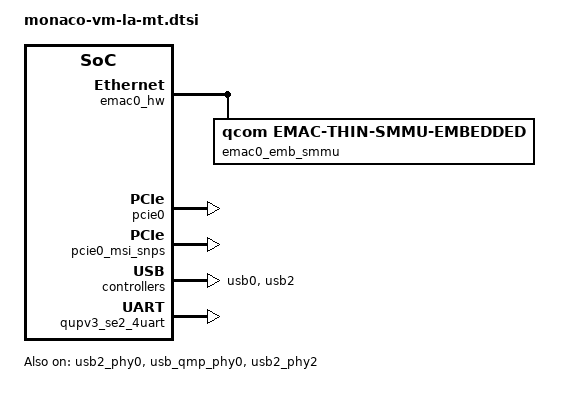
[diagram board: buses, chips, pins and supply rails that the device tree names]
// SPDX-License-Identifier: BSD-3-Clause
/*
 * Copyright (c) Qualcomm Technologies, Inc. and/or its subsidiaries.
 */

&soc {
	mtl_rx_setup: rx-queue-config {
		snps,rx-queues-to-use = <1>;
		snps,rx-sched-sp;

		queue {
			snps,dcb-algorithm;
			snps,priority = <0x1>;
		};
	};

	mtl_tx_setup: tx-queue-config {
		snps,tx-queues-to-use = <1>;
		snps,tx-sched-sp;
		queue {
			snps,dcb-algorithm;
		};
	};

	emac0_hw: qcom,ethernet@23040000 {
		compatible = "qcom,stmmac-ethqos-emac0";
		emac-core-version = <0x30010000>;
		qcom,arm-smmu;
		reg = <0x23049000 0x1000>;
		reg-names = "stmmaceth";
		interrupts-extended = <&intc 0 944 4>, <&intc 0 945 4>,
			<&intc 0 943 4>, <&intc 0 942 4>,
			<&intc 0 941 4>, <&intc 0 940 4>,
			<&intc 0 939 4>, <&intc 0 938 4>,
			<&intc 0 863 4>,<&intc 0 859 4>,
			<&intc 0 866 4>,<&intc 0 869 4>,
			<&intc 0 870 4>,<&intc 0 871 4>,
			<&intc 0 872 4>,<&intc 0 858 4>;
		interrupt-names = "tx_ch0_intr", "tx_ch1_intr",
			"tx_ch2_intr", "tx_ch3_intr",
			"tx_ch4_intr", "tx_ch5_intr",
			"tx_ch6_intr", "tx_ch7_intr",
			"rx_ch0_intr","rx_ch1_intr",
			"rx_ch2_intr","rx_ch3_intr",
			"rx_ch4_intr","rx_ch5_intr",
			"rx_ch6_intr","rx_ch7_intr";

		snps,tso;
		snps,pbl = <32>;
		mac-address = [00 55 7B B5 7D f7];
		rx-fifo-depth = <5120>;
		tx-fifo-depth = <5120>;
		snps,mtl-rx-config = <&mtl_rx_setup>;
		snps,mtl-tx-config = <&mtl_tx_setup>;
		queue = <0>;
		emac0_emb_smmu: emac0_emb_smmu {
			compatible = "qcom,emac-thin-smmu-embedded";
			iommus = <&apps_smmu 0x122 0x1>;
			qcom,iommu-dma = "fastmap";
			qcom,iommu-dma-addr-pool = <0x80000000 0x40000000>;
		};
	};
};

/ {
	chosen {
		bootargs = "rcupdate.rcu_expedited=1 rcu_nocbs=0-7 cgroup.memory=nokmem,nosocket kpti=0 arm64.nopauth kasan=off msm_show_resume_irq.debug_mask=1";
		bootconfig = "androidboot.usbcontroller=a600000.dwc3 androidboot.fstab_suffix=gen4.qcom androidboot.dtbo_idx=11";
	};

	rename_devices: rename_devices {
		compatible = "qcom,rename-devices";
		rename_blk: rename_blk {
			device-type = "block";
			actual-dev = "vda", "vdb", "vdc",
					"vdd", "vde", "vdf",
					"vdg", "vdh", "vdi",
					"vdj", "vdk", "vdl",
					"vdm", "vdn", "vdo",
					"vdp", "vdq", "vdr",
					"vds", "vdt", "vdu";
			rename-dev = "super", "userdata", "metadata",
					"persist", "modem_a","bluetooth_a",
					"misc", "vbmeta_a", "vbmeta_b",
					"boot_a", "dtbo_a", "dsp_a",
					"modem_b", "bluetooth_b", "boot_b",
					"dtbo_b", "dsp_b", "vendor_boot_b",
					"vendor_boot_a", "init_boot_b", "init_boot_a";
		};
	};
};

&hab {
	vmid = <2>;
};

&pcie0 {
	status = "ok";
};

&pcie0_msi_snps {
	status = "ok";
};

&usb0 {
	status = "ok";
};

&usb2_phy0 {
	status = "ok";
};

&usb_qmp_phy0 {
	status = "ok";
};

&usb2 {
	status = "ok";
};

&usb2_phy2 {
	status = "ok";
};

&qupv3_se2_4uart {
	status = "ok";
};
